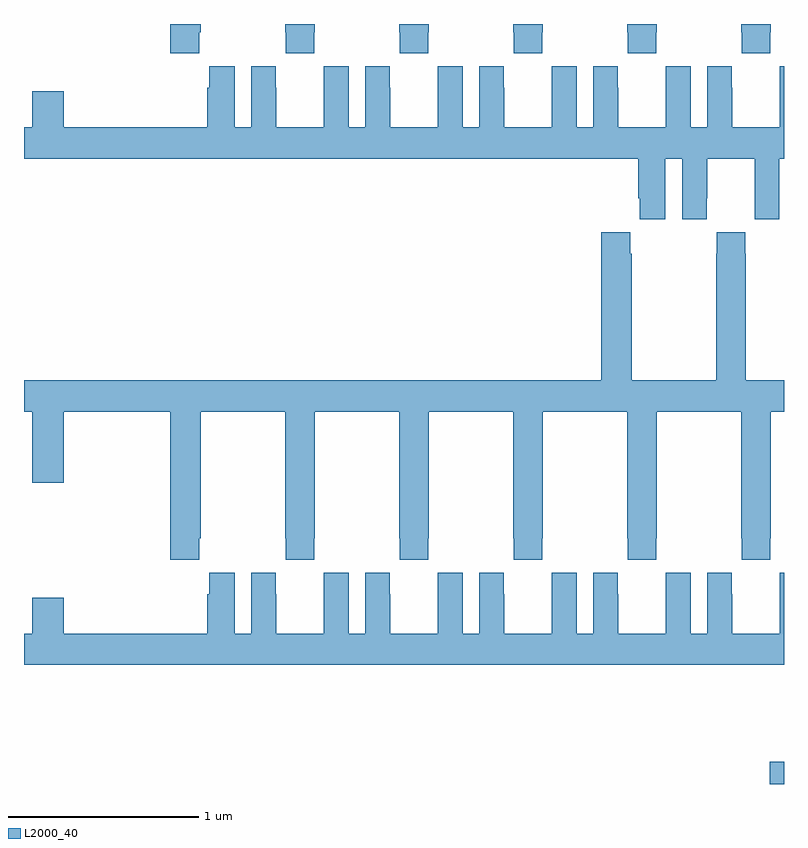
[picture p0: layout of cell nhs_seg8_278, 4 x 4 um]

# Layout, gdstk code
import gdstk
lib = gdstk.Library(unit=1e-6, precision=1e-09)
def R(c, l, rs):  # rectangles x0, y0, x1, y1
    for r in rs: c.add(gdstk.rectangle(r[:2], r[2:], *l))
def P(c, l, *ps):  # polygons
    for p in ps: c.add(gdstk.Polygon(p, *l))
L2000_40 = (2000, 40)

nhs_seg8_278 = lib.new_cell('nhs_seg8_278')
R(nhs_seg8_278, L2000_40, [(132.924,1087.9,133,1088.018)])
P(nhs_seg8_278, L2000_40, [(130.527,1091.857),(130.53,1091.857),(130.53,1091.9),(130.375,1091.9),(130.375,1091.857),(130.377,1091.857),(130.377,1091.745),(130.527,1091.745)],
  [(131.127,1091.857),(131.13,1091.857),(131.13,1091.9),(130.975,1091.9),(130.975,1091.857),(130.977,1091.857),(130.977,1091.745),(131.127,1091.745)],
  [(131.727,1091.857),(131.73,1091.857),(131.73,1091.9),(131.575,1091.9),(131.575,1091.857),(131.577,1091.857),(131.577,1091.745),(131.727,1091.745)],
  [(132.327,1091.857),(132.33,1091.857),(132.33,1091.9),(132.175,1091.9),(132.175,1091.857),(132.177,1091.857),(132.177,1091.745),(132.327,1091.745)],
  [(132.927,1091.857),(132.93,1091.857),(132.93,1091.9),(132.775,1091.9),(132.775,1091.857),(132.777,1091.857),(132.777,1091.745),(132.927,1091.745)],
  [(129.923,1091.857),(129.93,1091.857),(129.93,1091.9),(129.77,1091.9),(129.77,1091.745),(129.923,1091.745)],
  [(132.233,1090.984),(132.242,1090.984),(132.242,1090.872),(132.376,1090.872),(132.376,1091.192),(132.464,1091.192),(132.464,1090.872),(132.594,1090.872),(132.594,1090.984),(132.595,1090.984),(132.595,1091.192),(132.845,1091.192),(132.845,1090.984),(132.846,1090.984),(132.846,1090.872),(132.976,1090.872),(132.976,1091.192),(133,1091.192),(133,1091.677),(132.978,1091.677),(132.978,1091.564),(132.977,1091.564),(132.977,1091.356),(132.727,1091.356),(132.727,1091.564),(132.726,1091.564),(132.726,1091.677),(132.596,1091.677),(132.596,1091.356),(132.508,1091.356),(132.508,1091.677),(132.378,1091.677),(132.378,1091.564),(132.377,1091.564),(132.377,1091.356),(132.127,1091.356),(132.127,1091.564),(132.126,1091.564),(132.126,1091.677),(131.996,1091.677),(131.996,1091.356),(131.908,1091.356),(131.908,1091.677),(131.778,1091.677),(131.778,1091.564),(131.777,1091.564),(131.777,1091.356),(131.527,1091.356),(131.527,1091.564),(131.526,1091.564),(131.526,1091.677),(131.396,1091.677),(131.396,1091.356),(131.308,1091.356),(131.308,1091.677),(131.178,1091.677),(131.178,1091.564),(131.177,1091.564),(131.177,1091.356),(130.927,1091.356),(130.927,1091.564),(130.926,1091.564),(130.926,1091.677),(130.796,1091.677),(130.796,1091.356),(130.708,1091.356),(130.708,1091.677),(130.578,1091.677),(130.578,1091.564),(130.577,1091.564),(130.577,1091.356),(130.327,1091.356),(130.327,1091.564),(130.326,1091.564),(130.326,1091.677),(130.196,1091.677),(130.196,1091.356),(130.108,1091.356),(130.108,1091.677),(129.974,1091.677),(129.974,1091.564),(129.965,1091.564),(129.965,1091.356),(129.208,1091.356),(129.208,1091.545),(129.044,1091.545),(129.044,1091.356),(129,1091.356),(129,1091.192),(132.233,1091.192)],
  [(129.923,1089.193),(129.93,1089.193),(129.93,1089.86),(130.375,1089.86),(130.375,1089.193),(130.377,1089.193),(130.377,1089.081),(130.527,1089.081),(130.527,1089.193),(130.53,1089.193),(130.53,1089.86),(130.975,1089.86),(130.975,1089.193),(130.977,1089.193),(130.977,1089.081),(131.127,1089.081),(131.127,1089.193),(131.13,1089.193),(131.13,1089.86),(131.575,1089.86),(131.575,1089.193),(131.577,1089.193),(131.577,1089.081),(131.727,1089.081),(131.727,1089.193),(131.73,1089.193),(131.73,1089.86),(132.175,1089.86),(132.175,1089.193),(132.177,1089.193),(132.177,1089.081),(132.327,1089.081),(132.327,1089.193),(132.33,1089.193),(132.33,1089.86),(132.775,1089.86),(132.775,1089.193),(132.777,1089.193),(132.777,1089.081),(132.927,1089.081),(132.927,1089.193),(132.93,1089.193),(132.93,1089.86),(133,1089.86),(133,1090.024),(132.798,1090.024),(132.798,1090.691),(132.795,1090.691),(132.795,1090.804),(132.645,1090.804),(132.645,1090.691),(132.643,1090.691),(132.643,1090.024),(132.198,1090.024),(132.198,1090.691),(132.191,1090.691),(132.191,1090.804),(132.038,1090.804),(132.038,1090.024),(129,1090.024),(129,1089.86),(129.044,1089.86),(129.044,1089.486),(129.208,1089.486),(129.208,1089.86),(129.77,1089.86),(129.77,1089.081),(129.923,1089.081)],
  [(133,1089.013),(132.978,1089.013),(132.978,1088.9),(132.977,1088.9),(132.977,1088.692),(132.727,1088.692),(132.727,1088.9),(132.726,1088.9),(132.726,1089.013),(132.596,1089.013),(132.596,1088.692),(132.508,1088.692),(132.508,1089.013),(132.378,1089.013),(132.378,1088.9),(132.377,1088.9),(132.377,1088.692),(132.127,1088.692),(132.127,1088.9),(132.126,1088.9),(132.126,1089.013),(131.996,1089.013),(131.996,1088.692),(131.908,1088.692),(131.908,1089.013),(131.778,1089.013),(131.778,1088.9),(131.777,1088.9),(131.777,1088.692),(131.527,1088.692),(131.527,1088.9),(131.526,1088.9),(131.526,1089.013),(131.396,1089.013),(131.396,1088.692),(131.308,1088.692),(131.308,1089.013),(131.178,1089.013),(131.178,1088.9),(131.177,1088.9),(131.177,1088.692),(130.927,1088.692),(130.927,1088.9),(130.926,1088.9),(130.926,1089.013),(130.796,1089.013),(130.796,1088.692),(130.708,1088.692),(130.708,1089.013),(130.578,1089.013),(130.578,1088.9),(130.577,1088.9),(130.577,1088.692),(130.327,1088.692),(130.327,1088.9),(130.326,1088.9),(130.326,1089.013),(130.196,1089.013),(130.196,1088.692),(130.108,1088.692),(130.108,1089.013),(129.974,1089.013),(129.974,1088.9),(129.965,1088.9),(129.965,1088.692),(129.208,1088.692),(129.208,1088.881),(129.044,1088.881),(129.044,1088.692),(129,1088.692),(129,1088.528),(133,1088.528)])

lib.write_gds('nhs_seg8_278.gds')
